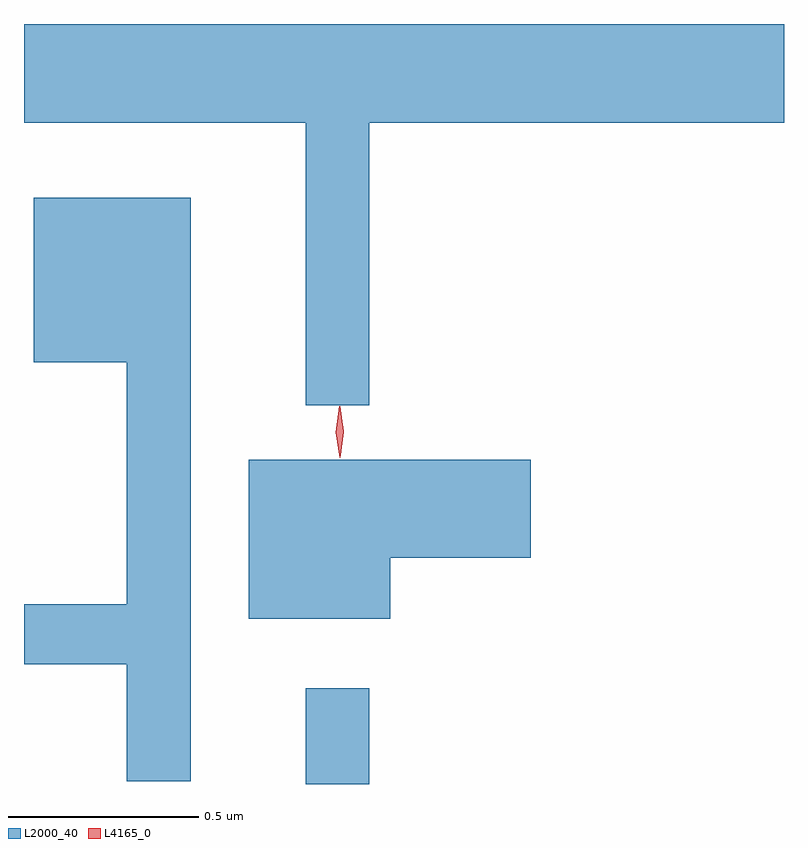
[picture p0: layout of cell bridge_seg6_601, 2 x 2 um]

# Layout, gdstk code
import gdstk
lib = gdstk.Library(unit=1e-6, precision=1e-09)
def R(c, l, rs):  # rectangles x0, y0, x1, y1
    for r in rs: c.add(gdstk.rectangle(r[:2], r[2:], *l))
def P(c, l, *ps):  # polygons
    for p in ps: c.add(gdstk.Polygon(p, *l))
L2000_40 = (2000, 40)
L4165_0 = (4165, 0)

bridge_seg6_601 = lib.new_cell('bridge_seg6_601')
R(bridge_seg6_601, L2000_40, [(427.651,1637.096,427.819,1637.348)])
P(bridge_seg6_601, L2000_40, [(427.819,1638.836),(428.91,1638.836),(428.91,1639.096),(426.91,1639.096),(426.91,1638.836),(427.651,1638.836),(427.651,1638.093),(427.819,1638.093)],
  [(427.349,1638.639),(426.936,1638.639),(426.936,1638.206),(427.181,1638.206),(427.181,1637.569),(426.91,1637.569),(426.91,1637.411),(427.181,1637.411),(427.181,1637.103),(427.349,1637.103)],
  [(427.874,1637.691),(428.244,1637.691),(428.244,1637.949),(427.501,1637.949),(427.501,1637.531),(427.874,1637.531)])
P(bridge_seg6_601, L4165_0, [(427.742,1637.96),(427.742,1637.961),(427.732,1638.023),(427.74,1638.086),(427.741,1638.087),(427.742,1638.086),(427.752,1638.024),(427.743,1637.961)],
  [(427.741,1637.954),(427.731,1638.022),(427.74,1638.09),(427.741,1638.09),(427.742,1638.09),(427.751,1638.022),(427.742,1637.954),(427.742,1637.954)])

lib.write_gds('bridge_seg6_601.gds')
